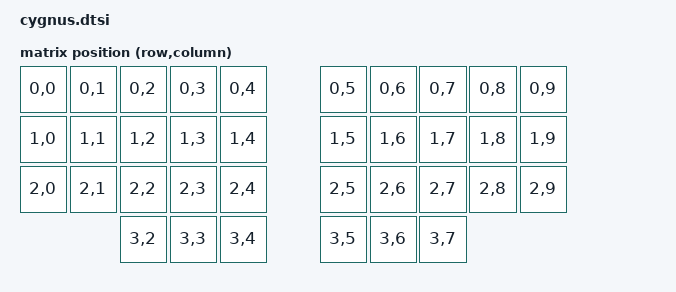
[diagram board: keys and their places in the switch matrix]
/*
 * Copyright (c) 2021 The ZMK Contributors
 *
 * SPDX-License-Identifier: MIT
 */

#include <dt-bindings/zmk/matrix_transform.h>

/ {
    chosen {
        zmk,kscan = &kscan0;
        zmk,matrix_transform = &default_transform;
    };

    default_transform: keymap_transform_0 {
        compatible = "zmk,matrix-transform";
        columns = <10>;
        rows = <4>;
        map = <
        RC(0,0) RC(0,1) RC(0,2) RC(0,3) RC(0,4)   RC(0,5) RC(0,6) RC(0,7) RC(0,8) RC(0,9)
        RC(1,0) RC(1,1) RC(1,2) RC(1,3) RC(1,4)   RC(1,5) RC(1,6) RC(1,7) RC(1,8) RC(1,9) 
        RC(2,0) RC(2,1) RC(2,2) RC(2,3) RC(2,4)   RC(2,5) RC(2,6) RC(2,7) RC(2,8) RC(2,9)
                        RC(3,2) RC(3,3) RC(3,4)   RC(3,5) RC(3,6) RC(3,7)             
        >;
    };

    kscan0: kscan {
        compatible = "zmk,kscan-gpio-matrix";
        diode-direction = "col2row";
        wakeup-source;
    };

    keys {
        compatible = "gpio-keys";
        on_off_key: on_off_key {
            gpios = <&pro_micro 7 (GPIO_ACTIVE_LOW | GPIO_PULL_UP)>;
            zephyr,code = <0>;
        };
    };

    soft_off_direct_scan: soft_off_direct_scan {
        compatible = "zmk,kscan-gpio-direct";
        input-keys = <&on_off_key>;
        wakeup-source;
    };

    behaviors {
        hw_soft_off: hw_soft_off {
            compatible = "zmk,behavior-soft-off";
            #binding-cells = <0>;
            hold-time-ms = <3000>;
        };
    };

    side_band_behavior_triggers: side_band_behavior_triggers {
        compatible = "zmk,kscan-sideband-behaviors";

        kscan = <&soft_off_direct_scan>;
        wakeup-source;

        soft_off {
            column = <0>;
            row = <0>;
            bindings = <&hw_soft_off>;
        };
    };

    soft_off_wakers {
        compatible = "zmk,soft-off-wakeup-sources";
        wakeup-sources = <&soft_off_direct_scan>;
    };
};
